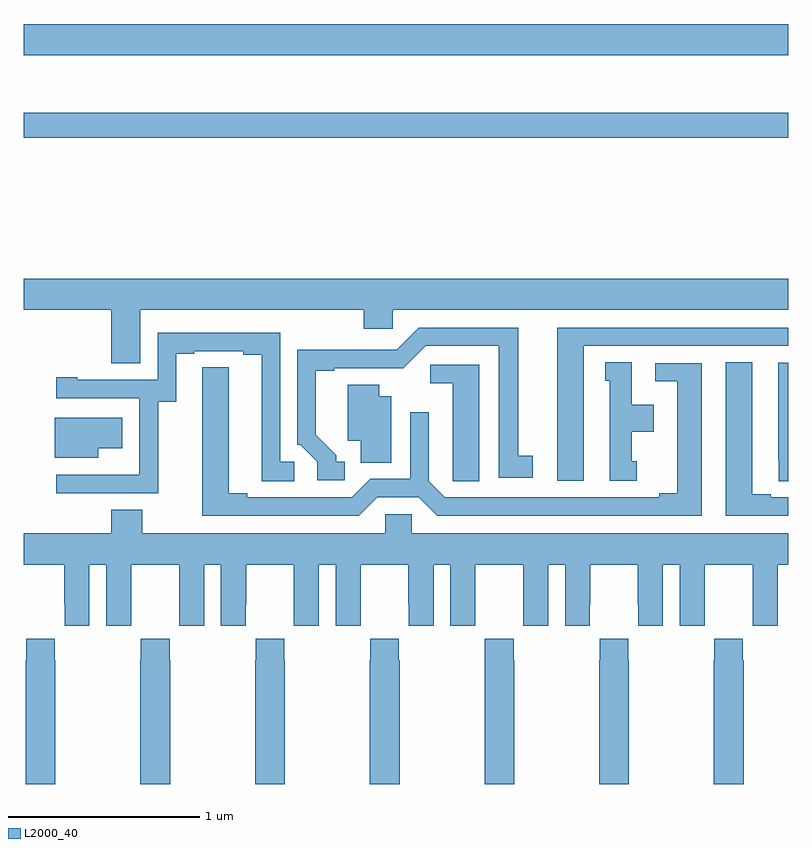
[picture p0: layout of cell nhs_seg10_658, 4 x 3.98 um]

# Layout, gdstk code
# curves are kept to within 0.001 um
import gdstk
lib = gdstk.Library(unit=1e-6, precision=1e-09)
def R(c, l, rs):  # rectangles x0, y0, x1, y1
    for r in rs: c.add(gdstk.rectangle(r[:2], r[2:], *l))
def P(c, l, *ps):  # polygons
    for p in ps: c.add(gdstk.Polygon(p, *l))
L2000_40 = (2000, 40)

nhs_seg10_658 = lib.new_cell('nhs_seg10_658')
R(nhs_seg10_658, L2000_40, [(143,1303.882,147,1304.011), (143,1304.312,147,1304.476)])
P(nhs_seg10_658, L2000_40, [(143.611,1302.98),(144.779,1302.98),(144.779,1302.882),(144.93,1302.882),(144.93,1302.98),(147,1302.98),(147,1303.144),(143,1303.144),(143,1302.98),(143.459,1302.98),(143.459,1302.7),(143.611,1302.7)],
  [(144.679,1302.186),(144.634,1302.186),(144.634,1302.221),(144.529,1302.326),(144.529,1302.663),(144.625,1302.663),(144.625,1302.675),(144.986,1302.674),(145.104,1302.792),(145.484,1302.792),(145.484,1302.102),(145.663,1302.102),(145.663,1302.218),(145.588,1302.218),(145.588,1302.888),(145.068,1302.888),(144.951,1302.771),(144.695,1302.771),(144.695,1302.773),(144.432,1302.773),(144.432,1302.276),(144.447,1302.276),(144.537,1302.186),(144.537,1302.09),(144.679,1302.09)],
  [(145.93,1302.792),(147,1302.792),(147,1302.888),(145.79,1302.888),(145.79,1302.087),(145.93,1302.087)],
  [(143.703,1302.499),(143.797,1302.499),(143.797,1302.75),(143.893,1302.75),(143.893,1302.765),(144.149,1302.765),(144.149,1302.745),(144.245,1302.745),(144.245,1302.085),(144.415,1302.085),(144.415,1302.186),(144.342,1302.186),(144.342,1302.861),(143.7,1302.861),(143.7,1302.615),(143.281,1302.615),(143.281,1302.628),(143.169,1302.628),(143.169,1302.519),(143.604,1302.519),(143.604,1302.118),(143.603,1302.118),(143.603,1302.117),(143.169,1302.117),(143.169,1302.021),(143.703,1302.021)],
  [(146.206,1302.189),(146.182,1302.189),(146.182,1302.344),(146.296,1302.344),(146.296,1302.484),(146.182,1302.484),(146.182,1302.707),(146.042,1302.707),(146.042,1302.609),(146.066,1302.609),(146.066,1302.087),(146.206,1302.087)],
  [(147,1302),(146.908,1302),(146.908,1302.015),(146.812,1302.015),(146.812,1302.707),(146.672,1302.707),(146.672,1301.904),(147,1301.904)],
  [(147,1302.703),(146.948,1302.703),(146.948,1302.193),(146.949,1302.193),(146.949,1302.085),(147,1302.085)],
  [(144.849,1302),(145.067,1302),(145.163,1301.904),(146.548,1301.904),(146.548,1302.702),(146.304,1302.702),(146.304,1302.606),(146.42,1302.606),(146.42,1302.02),(146.324,1302.02),(146.324,1302),(145.203,1302),(145.119,1302.084),(145.119,1302.445),(145.023,1302.445),(145.023,1302.096),(144.813,1302.096),(144.717,1302),(144.169,1302),(144.169,1302.02),(144.073,1302.02),(144.073,1302.68),(143.934,1302.68),(143.933,1301.904),(144.753,1301.904)],
  [(145.384,1302.693),(145.128,1302.693),(145.128,1302.596),(145.244,1302.596),(145.244,1302.193),(145.245,1302.193),(145.245,1302.085),(145.384,1302.085)],
  [(144.922,1302.529),(144.859,1302.529),(144.859,1302.59),(144.695,1302.59),(144.695,1302.296),(144.764,1302.296),(144.764,1302.181),(144.922,1302.181)],
  [(143.389,1302.257),(143.515,1302.257),(143.515,1302.415),(143.162,1302.415),(143.162,1302.206),(143.389,1302.206)],
  [(143.619,1301.936),(143.459,1301.936),(143.459,1301.812),(143,1301.812),(143,1301.648),(143.213,1301.648),(143.213,1301.44),(143.214,1301.44),(143.214,1301.328),(143.344,1301.328),(143.344,1301.648),(143.432,1301.648),(143.432,1301.328),(143.562,1301.328),(143.562,1301.44),(143.563,1301.44),(143.563,1301.648),(143.813,1301.648),(143.813,1301.44),(143.814,1301.44),(143.814,1301.328),(143.944,1301.328),(143.944,1301.648),(144.032,1301.648),(144.032,1301.328),(144.162,1301.328),(144.162,1301.44),(144.163,1301.44),(144.163,1301.648),(144.413,1301.648),(144.413,1301.44),(144.414,1301.44),(144.414,1301.328),(144.544,1301.328),(144.544,1301.648),(144.632,1301.648),(144.632,1301.328),(144.762,1301.328),(144.762,1301.44),(144.763,1301.44),(144.763,1301.648),(145.013,1301.648),(145.013,1301.44),(145.014,1301.44),(145.014,1301.328),(145.144,1301.328),(145.144,1301.648),(145.232,1301.648),(145.232,1301.328),(145.362,1301.328),(145.362,1301.44),(145.363,1301.44),(145.363,1301.648),(145.613,1301.648),(145.613,1301.44),(145.614,1301.44),(145.614,1301.328),(145.744,1301.328),(145.744,1301.648),(145.832,1301.648),(145.832,1301.328),(145.962,1301.328),(145.962,1301.44),(145.963,1301.44),(145.963,1301.648),(146.213,1301.648),(146.213,1301.44),(146.214,1301.44),(146.214,1301.328),(146.344,1301.328),(146.344,1301.648),(146.432,1301.648),(146.432,1301.328),(146.562,1301.328),(146.562,1301.44),(146.563,1301.44),(146.563,1301.648),(146.813,1301.648),(146.813,1301.44),(146.814,1301.44),(146.814,1301.328),(146.944,1301.328),(146.944,1301.648),(147,1301.648),(147,1301.812),(145.029,1301.812),(145.029,1301.91),(144.891,1301.91),(144.891,1301.812),(143.619,1301.812)],
  [(143.766,1301.147),(143.763,1301.147),(143.763,1301.26),(143.613,1301.26),(143.613,1301.147),(143.611,1301.147),(143.611,1300.5),(143.766,1300.5)],
  [(143.166,1301.147),(143.163,1301.147),(143.163,1301.26),(143.013,1301.26),(143.013,1301.147),(143.011,1301.147),(143.011,1300.5),(143.166,1300.5)],
  [(144.966,1301.147),(144.963,1301.147),(144.963,1301.26),(144.813,1301.26),(144.813,1301.147),(144.811,1301.147),(144.811,1300.5),(144.966,1300.5)],
  [(146.766,1301.147),(146.763,1301.147),(146.763,1301.26),(146.613,1301.26),(146.613,1301.147),(146.611,1301.147),(146.611,1300.5),(146.766,1300.5)],
  [(146.166,1301.147),(146.163,1301.147),(146.163,1301.26),(146.013,1301.26),(146.013,1301.147),(146.011,1301.147),(146.011,1300.5),(146.166,1300.5)],
  [(145.566,1301.147),(145.563,1301.147),(145.563,1301.26),(145.413,1301.26),(145.413,1301.147),(145.411,1301.147),(145.411,1300.5),(145.566,1300.5)],
  [(144.366,1301.147),(144.363,1301.147),(144.363,1301.26),(144.213,1301.26),(144.213,1301.147),(144.211,1301.147),(144.211,1300.5),(144.366,1300.5)])

lib.write_gds('nhs_seg10_658.gds')
